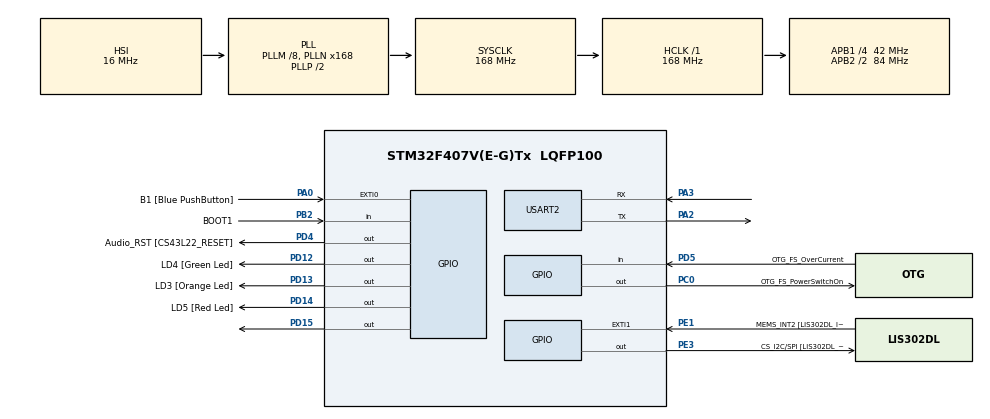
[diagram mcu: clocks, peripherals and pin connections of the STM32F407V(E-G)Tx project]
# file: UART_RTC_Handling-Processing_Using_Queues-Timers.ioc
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Mcu.Family=STM32F4
Mcu.Name=STM32F407V(E-G)Tx
Mcu.Package=LQFP100
NVIC.PriorityGroup=NVIC_PRIORITYGROUP_4
NVIC.TIM6_DAC_IRQn=true\:0\:0\:false\:false\:true\:false\:true\:true
NVIC.TimeBase=TIM6_DAC_IRQn
NVIC.TimeBaseIP=TIM6
NVIC.USART2_IRQn=true\:6\:0\:true\:false\:true\:true\:true\:true
PA0-WKUP.GPIO_Label=B1 [Blue PushButton]
PA0-WKUP.Signal=GPXTI0
PA10.GPIO_Label=OTG_FS_ID
PA10.GPIO_Mode=GPIO_MODE_AF_PP
PA10.GPIO_PuPd=GPIO_NOPULL
PA10.GPIO_Speed=GPIO_SPEED_FREQ_LOW
PA10.Signal=USB_OTG_FS_ID
PA11.GPIO_Label=OTG_FS_DM
PA11.GPIO_Mode=GPIO_MODE_AF_PP
PA11.GPIO_PuPd=GPIO_NOPULL
PA11.GPIO_Speed=GPIO_SPEED_FREQ_LOW
PA11.Signal=USB_OTG_FS_DM
PA12.GPIO_Label=OTG_FS_DP
PA12.GPIO_Mode=GPIO_MODE_AF_PP
PA12.GPIO_PuPd=GPIO_NOPULL
PA12.GPIO_Speed=GPIO_SPEED_FREQ_LOW
PA12.Signal=USB_OTG_FS_DP
PA13.GPIO_Label=SWDIO
PA13.Signal=SYS_JTMS-SWDIO
PA14.GPIO_Label=SWCLK
PA14.Signal=SYS_JTCK-SWCLK
PA2.Mode=Asynchronous
PA2.Signal=USART2_TX
PA3.Mode=Asynchronous
PA3.Signal=USART2_RX
PA4.GPIO_Label=I2S3_WS [CS43L22_LRCK]
PA4.GPIO_Mode=GPIO_MODE_AF_PP
PA4.GPIO_PuPd=GPIO_NOPULL
PA4.GPIO_Speed=GPIO_SPEED_FREQ_LOW
PA4.Signal=I2S3_WS
PA5.GPIO_Label=SPI1_SCK [LIS302DL_SCL/SPC]
PA5.GPIO_Mode=GPIO_MODE_AF_PP
PA5.GPIO_PuPd=GPIO_NOPULL
PA5.GPIO_Speed=GPIO_SPEED_FREQ_LOW
PA5.Signal=SPI1_SCK
PA6.GPIO_Label=SPI1_MISO [LIS302DL_SDO]
PA6.GPIO_Mode=GPIO_MODE_AF_PP
PA6.GPIO_PuPd=GPIO_NOPULL
PA6.GPIO_Speed=GPIO_SPEED_FREQ_LOW
PA6.Signal=SPI1_MISO
PA7.GPIO_Label=SPI1_MOSI [LIS302DL_SDA/SDI/SDO]
PA7.GPIO_Mode=GPIO_MODE_AF_PP
PA7.GPIO_PuPd=GPIO_NOPULL
PA7.GPIO_Speed=GPIO_SPEED_FREQ_LOW
PA7.Signal=SPI1_MOSI
PA9.GPIO_Label=VBUS_FS
PA9.GPIO_Mode=GPIO_MODE_INPUT
PA9.GPIO_PuPd=GPIO_NOPULL
PA9.Signal=USB_OTG_FS_VBUS
PB10.GPIO_Label=CLK_IN [MP45DT02_CLK]
PB10.GPIO_Mode=GPIO_MODE_AF_PP
PB10.GPIO_PuPd=GPIO_NOPULL
PB10.GPIO_Speed=GPIO_SPEED_FREQ_LOW
PB10.Signal=I2S2_CK
PB2.GPIO_Label=BOOT1
PB2.GPIO_Mode=GPIO_MODE_INPUT
PB2.GPIO_PuPd=GPIO_NOPULL
PB2.Signal=GPIO_Input
PB3.GPIO_Label=SWO
PB3.Signal=SYS_JTDO-SWO
PB6.GPIO_Label=Audio_SCL [CS43L22_SCL]
PB6.GPIO_Mode=GPIO_MODE_AF_OD
PB6.GPIO_PuPd=GPIO_NOPULL
PB6.GPIO_Speed=GPIO_SPEED_FREQ_LOW
PB6.Signal=I2C1_SCL
PB9.GPIO_Label=Audio_SDA [CS43L22_SDA]
PB9.GPIO_Mode=GPIO_MODE_AF_OD
PB9.GPIO_PuPd=GPIO_NOPULL
PB9.GPIO_Speed=GPIO_SPEED_FREQ_LOW
PB9.Signal=I2C1_SDA
PC0.GPIO_Label=OTG_FS_PowerSwitchOn
PC0.GPIO_PuPd=GPIO_NOPULL
PC0.GPIO_Speed=GPIO_SPEED_FREQ_LOW
PC0.PinState=GPIO_PIN_SET
PC0.Signal=GPIO_Output
PC10.GPIO_Label=I2S3_SCK [CS43L22_SCLK]
PC10.GPIO_Mode=GPIO_MODE_AF_PP
PC10.GPIO_PuPd=GPIO_NOPULL
PC10.GPIO_Speed=GPIO_SPEED_FREQ_LOW
PC10.Signal=I2S3_CK
PC12.GPIO_Label=I2S3_SD [CS43L22_SDIN]
PC12.GPIO_Mode=GPIO_MODE_AF_PP
PC12.GPIO_PuPd=GPIO_NOPULL
PC12.GPIO_Speed=GPIO_SPEED_FREQ_LOW
PC12.Signal=I2S3_SD
PC14-OSC32_IN.GPIO_Label=PC14-OSC32_IN
PC14-OSC32_IN.Signal=RCC_OSC32_IN
PC15-OSC32_OUT.GPIO_Label=PC15-OSC32_OUT
PC15-OSC32_OUT.Signal=RCC_OSC32_OUT
PC3.GPIO_Label=PDM_OUT [MP45DT02_DOUT]
PC3.GPIO_Mode=GPIO_MODE_AF_PP
PC3.GPIO_PuPd=GPIO_NOPULL
PC3.GPIO_Speed=GPIO_SPEED_FREQ_LOW
PC3.Signal=I2S2_SD
PC7.GPIO_Label=I2S3_MCK [CS43L22_MCLK]
PC7.GPIO_Mode=GPIO_MODE_AF_PP
PC7.GPIO_PuPd=GPIO_NOPULL
PC7.GPIO_Speed=GPIO_SPEED_FREQ_LOW
PC7.Signal=I2S3_MCK
PD12.GPIO_Label=LD4 [Green Led]
PD12.GPIO_PuPd=GPIO_NOPULL
PD12.GPIO_Speed=GPIO_SPEED_FREQ_LOW
PD12.Signal=GPIO_Output
PD13.GPIO_Label=LD3 [Orange Led]
PD13.GPIO_PuPd=GPIO_NOPULL
PD13.GPIO_Speed=GPIO_SPEED_FREQ_LOW
PD13.Signal=GPIO_Output
PD14.GPIO_Label=LD5 [Red Led]
PD14.GPIO_PuPd=GPIO_NOPULL
PD14.GPIO_Speed=GPIO_SPEED_FREQ_LOW
PD14.Signal=GPIO_Output
PD15.Signal=GPIO_Output
PD4.GPIO_Label=Audio_RST [CS43L22_RESET]
PD4.GPIO_PuPd=GPIO_NOPULL
PD4.GPIO_Speed=GPIO_SPEED_FREQ_LOW
PD4.Signal=GPIO_Output
PD5.GPIO_Label=OTG_FS_OverCurrent
PD5.GPIO_Mode=GPIO_MODE_INPUT
PD5.GPIO_PuPd=GPIO_NOPULL
PD5.Signal=GPIO_Input
PE1.GPIO_Label=MEMS_INT2 [LIS302DL_INT2]
PE1.GPIO_ModeDefaultEXTI=GPIO_MODE_EVT_RISING
PE1.GPIO_PuPd=GPIO_NOPULL
PE1.Signal=GPXTI1
PE3.GPIO_Label=CS_I2C/SPI [LIS302DL_CS_I2C/SPI]
PE3.GPIO_PuPd=GPIO_NOPULL
PE3.GPIO_Speed=GPIO_SPEED_FREQ_LOW
PE3.Signal=GPIO_Output
PH0-OSC_IN.GPIO_Label=PH0-OSC_IN
PH0-OSC_IN.Signal=RCC_OSC_IN
PH1-OSC_OUT.GPIO_Label=PH1-OSC_OUT
PH1-OSC_OUT.Signal=RCC_OSC_OUT
ProjectManager.HeapSize=0x200
ProjectManager.StackSize=0x400
ProjectManager.TargetToolchain=STM32CubeIDE
RCC.48MHZClocksFreq_Value=48000000
RCC.AHBFreq_Value=168000000
RCC.APB1CLKDivider=RCC_HCLK_DIV4
RCC.APB1Freq_Value=42000000
RCC.APB1TimFreq_Value=84000000
RCC.APB2CLKDivider=RCC_HCLK_DIV2
RCC.APB2Freq_Value=84000000
RCC.APB2TimFreq_Value=168000000
RCC.CortexFreq_Value=168000000
RCC.HCLKFreq_Value=168000000
RCC.HSE_VALUE=8000000
RCC.HSI_VALUE=16000000
RCC.LSE_VALUE=32768
RCC.PLLM=8
RCC.PLLN=168
RCC.PLLQ=7
RCC.SYSCLKFreq_VALUE=168000000
RCC.SYSCLKSource=RCC_SYSCLKSOURCE_PLLCLK
RCC.VCOOutputFreq_Value=336000000
RTC.HourFormat=RTC_HOURFORMAT_12
USART2.VirtualMode=VM_ASYNC
VP_RTC_VS_RTC_Activate.Mode=RTC_Enabled
VP_SYS_VS_tim6.Mode=TIM6
board=STM32F407G-DISC1

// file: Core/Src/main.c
/* USER CODE BEGIN Header */
/**
 ******************************************************************************
 * @file           : main.c
 * @brief          : FreeRTOS Menu-Driven Application for STM32F4 Discovery
 *
 * @description    : Interactive UART menu system with three features:
 *                   1. LED effects  — four toggle patterns on PD12-PD15
 *                   2. RTC config   — set time, date, enable periodic report
 *                   3. Exit         — placeholder for shutdown logic
 *
 *                   Architecture:
 *                   +-----------+  notify   +------------+  notify   +---------+
 *                   | UART ISR  +---------->+  cmd_task   +---------->+ menu /  |
 *                   | (byte)    |  q_rx     | (parse)     |  (ptr)    | led/rtc |
 *                   +-----------+           +------------+           +---------+
 *                                                                        |
 *                                                                   q_print
 *                                                                        v
 *                                                                  +---------+
 *                                                                  |  print  |
 *                                                                  | (UART)  |
 *                                                                  +---------+
 *
 * @attention
 *
 * Copyright (c) 2026 STMicroelectronics.
 * All rights reserved.
 *
 * This software is licensed under terms that can be found in the LICENSE file
 * in the root directory of this software component.
 * If no LICENSE file comes with this software, it is provided AS-IS.
 *
 ******************************************************************************
 */
/* USER CODE END Header */

#include "main.h"

/* USER CODE BEGIN Includes */
#include <string.h>                /* memset, strcmp, strlen                   */
#include <stdio.h>                 /* printf, sprintf                         */
#include "FreeRTOS.h"              /* Core FreeRTOS definitions               */
#include "task.h"                  /* xTaskCreate, xTaskNotify, etc.          */
#include "queue.h"                 /* xQueueCreate, xQueueSend, etc.         */
#include "timers.h"                /* xTimerCreate, xTimerStart, etc.        */
/* USER CODE END Includes */

/* USER CODE BEGIN PTD */

/**
 * @brief  Command packet received from the UART.
 *         The ISR fills queue_uart_rx one byte at a time; task_cmd_handler
 *         reassembles those bytes into this structure.
 */
typedef struct {
    uint8_t  payload[10];          /* ASCII characters (null-terminated)      */
    uint32_t length;               /* Number of valid chars (excl. '\0')      */
} uart_command_t;

/**
 * @brief  Application state machine states.
 *         Only ONE state is active at any time; it decides which task
 *         receives the next parsed command from task_cmd_handler.
 */
typedef enum {
    STATE_MAIN_MENU = 0,           /* Top-level menu is displayed             */
    STATE_LED_EFFECT,              /* Waiting for LED effect selection        */
    STATE_RTC_MENU,                /* RTC sub-menu is displayed               */
    STATE_RTC_TIME_CONFIG,         /* Collecting hh:mm:ss from user           */
    STATE_RTC_DATE_CONFIG,         /* Collecting dd/mm/dow/yy from user       */
    STATE_RTC_REPORT,              /* Waiting for y/n to toggle reporting     */
} app_state_t;

/* USER CODE END PTD */

/* USER CODE BEGIN PD */

/* ---------- Sub-state indices for multi-step RTC time entry --------------- */
#define RTC_TIME_STEP_HOUR      0  /* First prompt  : enter hours             */
#define RTC_TIME_STEP_MINUTE    1  /* Second prompt : enter minutes            */
#define RTC_TIME_STEP_SECOND    2  /* Third prompt  : enter seconds            */
#define RTC_TIME_STEP_AMPM      3  /* Fourth prompt : enter AM(0) or PM(1)    */

/* ---------- Sub-state indices for multi-step RTC date entry --------------- */
#define RTC_DATE_STEP_DAY       0  /* First prompt  : enter day of month      */
#define RTC_DATE_STEP_MONTH     1  /* Second prompt : enter month              */
#define RTC_DATE_STEP_WEEKDAY   2  /* Third prompt  : enter weekday (1=Sun)    */
#define RTC_DATE_STEP_YEAR      3  /* Fourth prompt : enter year (0-99)        */

/* ---------- Number of LEDs on the Discovery board (PD12-PD15) ------------ */
#define LED_COUNT               4

/* USER CODE END PD */

/* USER CODE BEGIN PM */
/* (none) */
/* USER CODE END PM */

RTC_HandleTypeDef  hrtc;           /* RTC peripheral handle (CubeMX)         */
UART_HandleTypeDef huart2;         /* USART2 peripheral handle (CubeMX)      */

/* USER CODE BEGIN PV */

/* ========================== Task Handles ================================= */
static TaskHandle_t  task_handle_cmd;       /* Command parser task           */
static TaskHandle_t  task_handle_menu;      /* Main menu task                */
static TaskHandle_t  task_handle_print;     /* UART transmit task            */
static TaskHandle_t  task_handle_led;       /* LED effect task               */
static TaskHandle_t  task_handle_rtc;       /* RTC configuration task        */

/* ========================== Queue Handles ================================ */
static QueueHandle_t queue_uart_rx;         /* Raw bytes from UART ISR       */
static QueueHandle_t queue_print;           /* String pointers -> print_task */

/* ========================== Timer Handles ================================ */
static TimerHandle_t timer_led[LED_COUNT];  /* One software timer per effect */
static TimerHandle_t timer_rtc_report;      /* Periodic RTC report timer     */

/* ========================== Shared State ================================= */
static volatile uint8_t     uart_rx_byte;   /* Single-byte ISR receive buf   */
static volatile app_state_t current_state = STATE_MAIN_MENU;  /* FSM state  */
static volatile int         led_toggle_phase = 0; /* Alternates 0/1 each cb */

/* ========================== Constant Strings ============================= */
static const char *MSG_INVALID = "\r\n  [!] Invalid input. Please try again.\r\n";

/* USER CODE END PV */

void SystemClock_Config(void);
static void MX_GPIO_Init(void);
static void MX_RTC_Init(void);
static void MX_USART2_UART_Init(void);

/* USER CODE BEGIN PFP */

/* --- FreeRTOS task entry points --- */
static void task_main_menu(void *param);
static void task_led_effect(void *param);
static void task_rtc_config(void *param);
static void task_print(void *param);
static void task_cmd_handler(void *param);

/* --- RTC helpers --- */
static void     rtc_show_on_uart(void);
static void     rtc_show_on_itm(void);
static void     rtc_apply_time(RTC_TimeTypeDef *time);
static void     rtc_apply_date(RTC_DateTypeDef *date);
static int      rtc_validate(const RTC_TimeTypeDef *time,
                             const RTC_DateTypeDef *date);

/* --- Utility --- */
static uint8_t  ascii_to_number(const uint8_t *buf, int len);

/* --- LED helpers --- */
static void     led_write_pattern(uint8_t pattern);
static void     led_stop_all_timers(void);

/* --- Timer callbacks --- */
static void     callback_led_effect(TimerHandle_t xTimer);
static void     callback_rtc_report(TimerHandle_t xTimer);

/* USER CODE END PFP */

/* USER CODE BEGIN 0 */

/* =========================================================================
 *  FREERTOS HOOK FUNCTIONS
 *  Called automatically by the kernel on error conditions.
 * ========================================================================= */

/**
 * @brief  Called when a task exceeds its allocated stack.
 * @param  xTask      Handle of the offending task.
 * @param  pcTaskName Human-readable name of the offending task.
 * @note   Spins forever so the debugger can catch it.
 */
void vApplicationStackOverflowHook(TaskHandle_t xTask, char *pcTaskName)
{
    (void)xTask;                   /* Suppress unused-variable warning        */
    (void)pcTaskName;              /* Inspect this in the debugger            */
    for (;;);                      /* Halt -- attach debugger to diagnose     */
}

/**
 * @brief  Called when pvPortMalloc() fails (heap exhausted).
 * @note   Increase configTOTAL_HEAP_SIZE in FreeRTOSConfig.h if this fires.
 */
void vApplicationMallocFailedHook(void)
{
    for (;;);                      /* Halt -- heap is full                    */
}

/* =========================================================================
 *  LED GPIO PIN MAP
 *  PD12 = green, PD13 = orange, PD14 = red, PD15 = blue
 * ========================================================================= */
static const uint16_t LED_PINS[LED_COUNT] = {
    GPIO_PIN_12, GPIO_PIN_13, GPIO_PIN_14, GPIO_PIN_15
};

/* =========================================================================
 *  LED HELPER FUNCTIONS
 * ========================================================================= */

/**
 * @brief  Write all four LEDs at once using a 4-bit pattern.
 *         Bit 0 -> PD12, Bit 1 -> PD13, Bit 2 -> PD14, Bit 3 -> PD15.
 *         1 = ON, 0 = OFF.
 * @param  pattern  4-bit value controlling each LED.
 */
static void led_write_pattern(uint8_t pattern)
{
    for (int i = 0; i < LED_COUNT; i++) {
        GPIO_PinState state = (pattern & (1 << i)) ? GPIO_PIN_SET
                                                    : GPIO_PIN_RESET;
        HAL_GPIO_WritePin(GPIOD, LED_PINS[i], state);
    }
}

/**
 * @brief  Stop all four LED effect software timers.
 *         Call this before starting a new effect to ensure only one runs.
 */
static void led_stop_all_timers(void)
{
    for (int i = 0; i < LED_COUNT; i++) {
        xTimerStop(timer_led[i], portMAX_DELAY);
    }
}

/* =========================================================================
 *  TIMER CALLBACKS
 * ========================================================================= */

/**
 * @brief  Software timer callback that drives LED effects.
 *
 *         Each of the four timers carries a unique ID (1-4) set via
 *         pvTimerGetTimerID().  The ID selects the blink pattern.
 *         led_toggle_phase alternates between two complementary patterns
 *         on each tick.
 *
 *         Effect patterns (PD12 PD13 PD14 PD15):
 *           Effect 1: all on  / all off           (simultaneous blink)
 *           Effect 2: 1 0 1 0 / 0 1 0 1           (alternate pairs)
 *           Effect 3: 1 1 0 0 / 0 0 1 1           (top-bottom swap)
 *           Effect 4: 0 1 1 0 / 1 0 0 1           (cross pattern)
 *
 * @param  xTimer  Handle of the timer that expired.
 */
static void callback_led_effect(TimerHandle_t xTimer)
{
    /* Retrieve effect ID (1-4) stored when the timer was created */
    int effect_id = (int)(uint32_t)pvTimerGetTimerID(xTimer);

    /* Two complementary 4-bit patterns per effect: [phase0, phase1] */
    static const uint8_t patterns[4][2] = {
        { 0x0F, 0x00 },           /* Effect 1: all on    <-> all off         */
        { 0x05, 0x0A },           /* Effect 2: 12,14 on  <-> 13,15 on       */
        { 0x03, 0x0C },           /* Effect 3: 12,13 on  <-> 14,15 on       */
        { 0x06, 0x09 },           /* Effect 4: 13,14 on  <-> 12,15 on       */
    };

    /* Bounds-check the effect ID (must be 1-4) */
    if (effect_id < 1 || effect_id > LED_COUNT) return;

    /* Write the current phase pattern, then flip the phase flag */
    led_write_pattern(patterns[effect_id - 1][led_toggle_phase]);
    led_toggle_phase ^= 1;        /* Toggle between 0 and 1                  */
}

/**
 * @brief  Periodic timer callback that prints current RTC time via ITM/SWO.
 * @param  xTimer  (unused) Handle of the expired timer.
 */
static void callback_rtc_report(TimerHandle_t xTimer)
{
    (void)xTimer;
    rtc_show_on_itm();             /* Print time to SWO debug console         */
}

/* =========================================================================
 *  UTILITY FUNCTIONS
 * ========================================================================= */

/**
 * @brief  Convert 1- or 2-digit ASCII string to a binary number.
 * @param  buf  Pointer to ASCII digit(s), e.g. "09" or "5".
 * @param  len  Number of characters (1 or 2).
 * @return Numeric value (0-99).
 */
static uint8_t ascii_to_number(const uint8_t *buf, int len)
{
    if (len > 1) {
        return (uint8_t)(((buf[0] - '0') * 10) + (buf[1] - '0'));
    }
    return (uint8_t)(buf[0] - '0');
}

/* =========================================================================
 *  RTC HELPER FUNCTIONS
 * ========================================================================= */

/**
 * @brief  Print current RTC time and date via ITM/SWO (printf).
 *         Used by the periodic report timer callback.
 */
static void rtc_show_on_itm(void)
{
    RTC_TimeTypeDef rtc_time = {0};
    RTC_DateTypeDef rtc_date = {0};

    /* Must read time BEFORE date -- STM32 RTC latches date on time read */
    HAL_RTC_GetTime(&hrtc, &rtc_time, RTC_FORMAT_BIN);
    HAL_RTC_GetDate(&hrtc, &rtc_date, RTC_FORMAT_BIN);

    /* Determine AM/PM string */
    const char *ampm = (rtc_time.TimeFormat == RTC_HOURFORMAT12_AM)
                       ? "AM" : "PM";

    /* Print formatted time and date to ITM console */
    printf("%02d:%02d:%02d [%s]\t%02d-%02d-%04d\n",
           rtc_time.Hours, rtc_time.Minutes, rtc_time.Seconds, ampm,
           rtc_date.Month, rtc_date.Date, 2000 + rtc_date.Year);
}

/**
 * @brief  Print current RTC time and date over UART via the print queue.
 *         Uses static buffers so the pointer remains valid until consumed.
 */
static void rtc_show_on_uart(void)
{
    /* Static buffers survive after this function returns */
    static char time_buf[40];
    static char date_buf[40];
    static char *time_ptr = time_buf;
    static char *date_ptr = date_buf;

    RTC_TimeTypeDef rtc_time = {0};
    RTC_DateTypeDef rtc_date = {0};

    /* Must read time BEFORE date -- STM32 RTC latches date on time read */
    HAL_RTC_GetTime(&hrtc, &rtc_time, RTC_FORMAT_BIN);
    HAL_RTC_GetDate(&hrtc, &rtc_date, RTC_FORMAT_BIN);

    /* Determine AM/PM string */
    const char *ampm = (rtc_time.TimeFormat == RTC_HOURFORMAT12_AM)
                       ? "AM" : "PM";

    /* Format and enqueue time string */
    sprintf(time_buf, "\r\n  Current Time : %02d:%02d:%02d [%s]",
            rtc_time.Hours, rtc_time.Minutes, rtc_time.Seconds, ampm);
    xQueueSend(queue_print, &time_ptr, portMAX_DELAY);

    /* Format and enqueue date string */
    sprintf(date_buf, "\r\n  Current Date : %02d-%02d-%04d\r\n",
            rtc_date.Month, rtc_date.Date, 2000 + rtc_date.Year);
    xQueueSend(queue_print, &date_ptr, portMAX_DELAY);
}

/**
 * @brief  Apply a new time to the RTC hardware.
 * @param  time  Pointer to time struct with Hours, Minutes, Seconds,
 *               and TimeFormat (AM/PM) already filled by the caller.
 */
static void rtc_apply_time(RTC_TimeTypeDef *time)
{
    /* TimeFormat is set by caller (AM or PM) -- do not override it here */
    time->DayLightSaving = RTC_DAYLIGHTSAVING_NONE;    /* No DST adjustment  */
    time->StoreOperation = RTC_STOREOPERATION_RESET;   /* Reset store flag   */
    HAL_RTC_SetTime(&hrtc, time, RTC_FORMAT_BIN);      /* Write to hardware  */
}

/**
 * @brief  Apply a new date to the RTC hardware.
 * @param  date  Pointer to date struct with Date, Month, WeekDay, Year.
 */
static void rtc_apply_date(RTC_DateTypeDef *date)
{
    HAL_RTC_SetDate(&hrtc, date, RTC_FORMAT_BIN);      /* Write to hardware  */
}

/**
 * @brief  Validate RTC time and/or date fields are within legal range.
 * @param  time  Pointer to time struct (NULL to skip time check).
 * @param  date  Pointer to date struct (NULL to skip date check).
 * @return 0 = valid, 1 = one or more fields out of range.
 */
static int rtc_validate(const RTC_TimeTypeDef *time,
                        const RTC_DateTypeDef *date)
{
    /* Validate time fields if provided */
    if (time != NULL) {
        if (time->Hours > 12 || time->Minutes > 59 || time->Seconds > 59) {
            return 1;              /* Time out of range                       */
        }
    }

    /* Validate date fields if provided */
    if (date != NULL) {
        if (date->Date > 31 || date->Month > 12 ||
            date->WeekDay > 7 || date->Year > 99) {
            return 1;              /* Date out of range                       */
        }
    }

    return 0;                      /* All fields valid                        */
}

/* =========================================================================
 *  FREERTOS TASKS
 * ========================================================================= */

/**
 * @brief  Main menu task.
 *
 *         Displays the top-level menu, waits for a single-digit command,
 *         and delegates to the LED or RTC task via task notifications.
 *         After the sub-task finishes, it notifies this task to re-display
 *         the menu.
 *
 * @param  param  (unused)
 */
static void task_main_menu(void *param)
{
    (void)param;

    uint32_t       notification_value;       /* Holds pointer from notifier  */
    uart_command_t *cmd;                     /* Points into cmd_handler's buf*/

    const char *msg_menu =
        "\r\n"
        "  +------------------------------------+\r\n"
        "  |     STM32F4 Discovery  v1.0        |\r\n"
        "  |          MAIN MENU                 |\r\n"
        "  +------------------------------------+\r\n"
        "  | [0]  LED Control Panel             |\r\n"
        "  | [1]  Clock & Calendar Settings     |\r\n"
        "  | [2]  Exit                          |\r\n"
        "  +------------------------------------+\r\n"
        "  Select option >> ";

    for (;;) {
        /* Display the main menu over UART */
        xQueueSend(queue_print, &msg_menu, portMAX_DELAY);

        /* Block until cmd_handler sends a parsed command via notification */
        xTaskNotifyWait(0, 0, &notification_value, portMAX_DELAY);
        cmd = (uart_command_t *)notification_value;

        if (cmd->length == 1) {
            int option = cmd->payload[0] - '0';  /* Convert ASCII to int    */

            switch (option) {
            case 0:
                /* Hand control to the LED effect task */
                current_state = STATE_LED_EFFECT;
                xTaskNotify(task_handle_led, 0, eNoAction);
                break;

            case 1:
                /* Hand control to the RTC configuration task */
                current_state = STATE_RTC_MENU;
                xTaskNotify(task_handle_rtc, 0, eNoAction);
                break;

            case 2:
                /* Exit -- no shutdown action defined yet */
                break;

            default:
                /* Unrecognised single digit */
                xQueueSend(queue_print, &MSG_INVALID, portMAX_DELAY);
                continue;          /* Re-display menu immediately            */
            }
        } else {
            /* Multi-character input is invalid at the main menu */
            xQueueSend(queue_print, &MSG_INVALID, portMAX_DELAY);
            continue;              /* Re-display menu immediately            */
        }

        /* Block here until the sub-task finishes and notifies us back */
        xTaskNotifyWait(0, 0, NULL, portMAX_DELAY);
    }
}

/**
 * @brief  LED effect selection task.
 *
 *         Waits for a notification from the menu task, shows the LED
 *         sub-menu, reads the user's choice, starts the corresponding
 *         software timer, then returns control to the menu.
 *
 * @param  param  (unused)
 */
static void task_led_effect(void *param)
{
    (void)param;

    uint32_t       notification_value;
    uart_command_t *cmd;

    const char *msg_led =
        "\r\n"
        "  +------------------------------------+\r\n"
        "  |        LED CONTROL PANEL           |\r\n"
        "  +------------------------------------+\r\n"
        "  | [1]    Sync Blink   (all toggle)  |\r\n"
        "  | [2]    Dual Sweep   (alt. pairs)  |\r\n"
        "  | [3]    Wave Split   (top/bottom)  |\r\n"
        "  | [4]    Cross Fade   (diagonal)    |\r\n"
        "  | [none] All LEDs OFF               |\r\n"
        "  +------------------------------------+\r\n"
        "  Select effect >> ";

    for (;;) {
        /* Sleep until the menu task activates us */
        xTaskNotifyWait(0, 0, NULL, portMAX_DELAY);

        /* Display the LED effect sub-menu */
        xQueueSend(queue_print, &msg_led, portMAX_DELAY);

        /* Wait for the user's effect choice */
        xTaskNotifyWait(0, 0, &notification_value, portMAX_DELAY);
        cmd = (uart_command_t *)notification_value;

        if (cmd->length <= 4) {
            if (strcmp((char *)cmd->payload, "none") == 0) {
                /* Turn off all LED effect timers */
                led_stop_all_timers();
                /* Force all four LEDs OFF immediately */
                led_write_pattern(0x00);

            } else if (strcmp((char *)cmd->payload, "1") == 0) {
                /* Start effect 1: simultaneous blink */
                led_stop_all_timers();
                xTimerStart(timer_led[0], portMAX_DELAY);

            } else if (strcmp((char *)cmd->payload, "2") == 0) {
                /* Start effect 2: alternate pairs */
                led_stop_all_timers();
                xTimerStart(timer_led[1], portMAX_DELAY);

            } else if (strcmp((char *)cmd->payload, "3") == 0) {
                /* Start effect 3: top-bottom swap */
                led_stop_all_timers();
                xTimerStart(timer_led[2], portMAX_DELAY);

            } else if (strcmp((char *)cmd->payload, "4") == 0) {
                /* Start effect 4: cross pattern */
                led_stop_all_timers();
                xTimerStart(timer_led[3], portMAX_DELAY);

            } else {
                /* Recognised length but unknown command string */
                xQueueSend(queue_print, &MSG_INVALID, portMAX_DELAY);
            }
        } else {
            /* Input too long for any valid LED command */
            xQueueSend(queue_print, &MSG_INVALID, portMAX_DELAY);
        }

        /* Return to the main menu */
        current_state = STATE_MAIN_MENU;
        xTaskNotify(task_handle_menu, 0, eNoAction);
    }
}

/**
 * @brief  RTC configuration task.
 *
 *         Handles the RTC sub-menu with four options:
 *           0 -- Configure time (hh, mm, ss entered sequentially)
 *           1 -- Configure date (dd, mm, weekday, yy entered sequentially)
 *           2 -- Enable/disable periodic time reporting via ITM
 *           3 -- Exit back to main menu
 *
 * @param  param  (unused)
 */
static void task_rtc_config(void *param)
{
    (void)param;

    /* ---- Constant sub-menu strings ---- */
    const char *msg_header =
        "\r\n"
        "  +------------------------------------+\r\n"
        "  |      CLOCK & CALENDAR SETTINGS     |\r\n"
        "  +------------------------------------+\r\n";

    const char *msg_options =
        "  | [0]  Set Time  (HH:MM:SS AM/PM)   |\r\n"
        "  | [1]  Set Date  (DD/MM/DOW/YY)     |\r\n"
        "  | [2]  Live Report on ITM Console    |\r\n"
        "  | [3]  Back to Main Menu             |\r\n"
        "  +------------------------------------+\r\n"
        "  Select option >> ";

    const char *msg_enter_hour    = "  Hour (1-12)    : ";
    const char *msg_enter_minute  = "  Minutes (0-59) : ";
    const char *msg_enter_second  = "  Seconds (0-59) : ";
    const char *msg_enter_ampm    = "  AM=0 / PM=1    : ";
    const char *msg_enter_day     = "  Day (1-31)     : ";
    const char *msg_enter_month   = "  Month (1-12)   : ";
    const char *msg_enter_weekday = "  Weekday (1-7, Sun=1) : ";
    const char *msg_enter_year    = "  Year (0-99)    : ";
    const char *msg_success       = "\r\n  [OK] Configuration saved successfully.\r\n";
    const char *msg_report_prompt = "  Enable live time report on ITM? (y/n) : ";

    uint32_t       notification_value;       /* Holds pointer from notifier  */
    uart_command_t *cmd;                     /* Parsed command from user     */
    int            rtc_sub_step = 0;         /* Tracks current config field  */

    RTC_TimeTypeDef new_time;                /* Accumulates time fields      */
    RTC_DateTypeDef new_date;                /* Accumulates date fields      */

    for (;;) {
        /* Sleep until the menu task activates us */
        xTaskNotifyWait(0, 0, NULL, portMAX_DELAY);

        /* Show RTC header, current time/date, and sub-menu options */
        xQueueSend(queue_print, &msg_header, portMAX_DELAY);
        rtc_show_on_uart();
        xQueueSend(queue_print, &msg_options, portMAX_DELAY);

        /* Process commands until we return to the main menu */
        while (current_state != STATE_MAIN_MENU) {

            /* Block until cmd_handler sends a command */
            xTaskNotifyWait(0, 0, &notification_value, portMAX_DELAY);
            cmd = (uart_command_t *)notification_value;

            switch (current_state) {

            /* ----------------------------------------------------------
             *  RTC SUB-MENU: Choose time/date config or report toggle
             * ---------------------------------------------------------- */
            case STATE_RTC_MENU:
                if (cmd->length == 1) {
                    int choice = cmd->payload[0] - '0';
                    switch (choice) {
                    case 0:  /* Configure time */
                        current_state = STATE_RTC_TIME_CONFIG;
                        xQueueSend(queue_print, &msg_enter_hour, portMAX_DELAY);
                        break;
                    case 1:  /* Configure date */
                        current_state = STATE_RTC_DATE_CONFIG;
                        xQueueSend(queue_print, &msg_enter_day, portMAX_DELAY);
                        break;
                    case 2:  /* Toggle reporting */
                        current_state = STATE_RTC_REPORT;
                        xQueueSend(queue_print, &msg_report_prompt, portMAX_DELAY);
                        break;
                    case 3:  /* Exit to main menu */
                        current_state = STATE_MAIN_MENU;
                        break;
                    default: /* Unknown option */
                        current_state = STATE_MAIN_MENU;
                        xQueueSend(queue_print, &MSG_INVALID, portMAX_DELAY);
                        break;
                    }
                } else {
                    /* Multi-char input invalid at RTC menu level */
                    current_state = STATE_MAIN_MENU;
                    xQueueSend(queue_print, &MSG_INVALID, portMAX_DELAY);
                }
                break;

            /* ----------------------------------------------------------
             *  TIME CONFIG: Collect hours -> minutes -> seconds -> AM/PM
             * ---------------------------------------------------------- */
            case STATE_RTC_TIME_CONFIG:
                switch (rtc_sub_step) {
                case RTC_TIME_STEP_HOUR:
                    new_time.Hours = ascii_to_number(cmd->payload, cmd->length);
                    rtc_sub_step = RTC_TIME_STEP_MINUTE;
                    xQueueSend(queue_print, &msg_enter_minute, portMAX_DELAY);
                    break;

                case RTC_TIME_STEP_MINUTE:
                    new_time.Minutes = ascii_to_number(cmd->payload, cmd->length);
                    rtc_sub_step = RTC_TIME_STEP_SECOND;
                    xQueueSend(queue_print, &msg_enter_second, portMAX_DELAY);
                    break;

                case RTC_TIME_STEP_SECOND:
                    new_time.Seconds = ascii_to_number(cmd->payload, cmd->length);
                    rtc_sub_step = RTC_TIME_STEP_AMPM;
                    xQueueSend(queue_print, &msg_enter_ampm, portMAX_DELAY);
                    break;

                case RTC_TIME_STEP_AMPM: {
                    /* User enters 0 for AM, 1 for PM */
                    uint8_t ampm_val = ascii_to_number(cmd->payload, cmd->length);

                    if (ampm_val == 0) {
                        new_time.TimeFormat = RTC_HOURFORMAT12_AM;
                    } else if (ampm_val == 1) {
                        new_time.TimeFormat = RTC_HOURFORMAT12_PM;
                    } else {
                        /* Invalid AM/PM value -- reject everything */
                        xQueueSend(queue_print, &MSG_INVALID, portMAX_DELAY);
                        current_state = STATE_MAIN_MENU;
                        rtc_sub_step = 0;
                        break;
                    }

                    /* Validate all time fields, then apply or reject */
                    if (rtc_validate(&new_time, NULL) == 0) {
                        rtc_apply_time(&new_time);
                        xQueueSend(queue_print, &msg_success, portMAX_DELAY);
                        rtc_show_on_uart();
                    } else {
                        xQueueSend(queue_print, &MSG_INVALID, portMAX_DELAY);
                    }

                    /* Reset sub-step and return to main menu */
                    current_state = STATE_MAIN_MENU;
                    rtc_sub_step = 0;
                    break;
                }

                default:
                    break;
                }
                break;

            /* ----------------------------------------------------------
             *  DATE CONFIG: Collect day -> month -> weekday -> year
             * ---------------------------------------------------------- */
            case STATE_RTC_DATE_CONFIG:
                switch (rtc_sub_step) {
                case RTC_DATE_STEP_DAY:
                    new_date.Date = ascii_to_number(cmd->payload, cmd->length);
                    rtc_sub_step = RTC_DATE_STEP_MONTH;
                    xQueueSend(queue_print, &msg_enter_month, portMAX_DELAY);
                    break;

                case RTC_DATE_STEP_MONTH:
                    new_date.Month = ascii_to_number(cmd->payload, cmd->length);
                    rtc_sub_step = RTC_DATE_STEP_WEEKDAY;
                    xQueueSend(queue_print, &msg_enter_weekday, portMAX_DELAY);
                    break;

                case RTC_DATE_STEP_WEEKDAY:
                    new_date.WeekDay = ascii_to_number(cmd->payload, cmd->length);
                    rtc_sub_step = RTC_DATE_STEP_YEAR;
                    xQueueSend(queue_print, &msg_enter_year, portMAX_DELAY);
                    break;

                case RTC_DATE_STEP_YEAR:
                    new_date.Year = ascii_to_number(cmd->payload, cmd->length);

                    /* Validate all four fields, then apply or reject */
                    if (rtc_validate(NULL, &new_date) == 0) {
                        rtc_apply_date(&new_date);
                        xQueueSend(queue_print, &msg_success, portMAX_DELAY);
                        rtc_show_on_uart();
                    } else {
                        xQueueSend(queue_print, &MSG_INVALID, portMAX_DELAY);
                    }

                    /* Reset sub-step and return to main menu */
                    current_state = STATE_MAIN_MENU;
                    rtc_sub_step = 0;
                    break;

                default:
                    break;
                }
                break;

            /* ----------------------------------------------------------
             *  REPORT TOGGLE: 'y' starts periodic ITM output, 'n' stops
             * ---------------------------------------------------------- */
            case STATE_RTC_REPORT:
                if (cmd->length == 1) {
                    if (cmd->payload[0] == 'y') {
                        /* Start the report timer if not already running */
                        if (xTimerIsTimerActive(timer_rtc_report) == pdFALSE) {
                            xTimerStart(timer_rtc_report, portMAX_DELAY);
                        }
                    } else if (cmd->payload[0] == 'n') {
                        /* Stop the report timer */
                        xTimerStop(timer_rtc_report, portMAX_DELAY);
                    } else {
                        xQueueSend(queue_print, &MSG_INVALID, portMAX_DELAY);
                    }
                } else {
                    xQueueSend(queue_print, &MSG_INVALID, portMAX_DELAY);
                }
                current_state = STATE_MAIN_MENU;
                break;

            default:
                /* Unknown state -- break out to avoid infinite loop */
                break;

            } /* end switch(current_state) */

        } /* end while(current_state != STATE_MAIN_MENU) */

        /* Hand control back to the main menu task */
        xTaskNotify(task_handle_menu, 0, eNoAction);
    }
}

/**
 * @brief  UART print task.
 *
 *         Blocks on queue_print waiting for string pointers.  When a pointer
 *         arrives it transmits the entire string over USART2 using blocking
 *         HAL_UART_Transmit.
 *
 * @param  param  (unused)
 */
static void task_print(void *param)
{
    (void)param;
    uint32_t *msg;

    for (;;) {
        /* Wait indefinitely for a string pointer from any task */
        xQueueReceive(queue_print, &msg, portMAX_DELAY);

        /* Transmit the null-terminated string over UART (blocking) */
        HAL_UART_Transmit(&huart2,
                          (uint8_t *)msg,
                          strlen((char *)msg),
                          HAL_MAX_DELAY);
    }
}

/**
 * @brief  Command handler task.
 *
 *         Woken by the UART ISR when '\n' is received.  Drains the raw
 *         byte queue (queue_uart_rx) into a uart_command_t struct, then
 *         routes it to the correct task based on current_state.
 *
 *         The command struct pointer is passed as the notification value
 *         so the receiving task can read the payload directly.
 *
 * @param  param  (unused)
 */
static void task_cmd_handler(void *param)
{
    (void)param;

    BaseType_t     notify_result;
    uart_command_t cmd;                      /* Reused each iteration         */

    for (;;) {
        /* Block until the UART ISR signals that '\n' was received */
        notify_result = xTaskNotifyWait(0, 0, NULL, portMAX_DELAY);

        if (notify_result != pdTRUE) {
            continue;              /* Spurious wake -- go back to sleep       */
        }

        /* Verify that bytes are actually waiting in the queue */
        if (uxQueueMessagesWaiting(queue_uart_rx) == 0) {
            continue;              /* Empty queue -- nothing to parse         */
        }

        /* Drain bytes from the queue until we hit the newline delimiter */
        uint8_t    byte;
        uint8_t    index = 0;
        BaseType_t status;

        do {
            status = xQueueReceive(queue_uart_rx, &byte, 0);
            if (status == pdTRUE) {
                cmd.payload[index++] = byte;
            }
        } while (byte != '\n' && index < sizeof(cmd.payload));

        /* Replace trailing '\n' with null terminator */
        cmd.payload[index - 1] = '\0';
        cmd.length = index - 1;   /* Length excludes the null terminator     */

        /* Route the command to whichever task is currently active */
        switch (current_state) {

        case STATE_MAIN_MENU:
            xTaskNotify(task_handle_menu,
                        (uint32_t)&cmd,
                        eSetValueWithOverwrite);
            break;

        case STATE_LED_EFFECT:
            xTaskNotify(task_handle_led,
                        (uint32_t)&cmd,
                        eSetValueWithOverwrite);
            break;

        case STATE_RTC_MENU:       /* All RTC sub-states route to rtc task   */
        case STATE_RTC_TIME_CONFIG:
        case STATE_RTC_DATE_CONFIG:
        case STATE_RTC_REPORT:
            xTaskNotify(task_handle_rtc,
                        (uint32_t)&cmd,
                        eSetValueWithOverwrite);
            break;
        }
    }
}

/* USER CODE END 0 */

/**
 * @brief  Application entry point.
 *         Initialises hardware, creates all FreeRTOS objects, and starts
 *         the scheduler.  This function never returns.
 * @retval int (never reached)
 */
int main(void)
{

    /* MCU Configuration ------------------------------------------------------ */
    HAL_Init();                    /* Reset peripherals, init Flash & SysTick  */

    SystemClock_Config();          /* Configure system clock to 168 MHz        */

    /* Initialise all configured peripherals */
    MX_GPIO_Init();                /* LEDs on PD12-PD15, user button, etc.    */
    MX_RTC_Init();                 /* Real-time clock in 12-hour mode         */
    MX_USART2_UART_Init();        /* UART2 at 115200 baud, 8N1               */

    /* USER CODE BEGIN 2 */
    BaseType_t status;

    /* ----- Create FreeRTOS tasks ----------------------------------------- */
    /*  xTaskCreate( function,      name,         stack, param, prio, handle )
     *               |              |             |words  |      |     |
     *           entry point    debug label    RAM alloc  arg  level  ID     */

    status = xTaskCreate(task_main_menu,   "menu_task",  250, NULL, 2,
                         &task_handle_menu);
    configASSERT(status == pdPASS);        /* Halt if creation failed         */

    status = xTaskCreate(task_cmd_handler, "cmd_task",   250, NULL, 2,
                         &task_handle_cmd);
    configASSERT(status == pdPASS);

    status = xTaskCreate(task_print,       "print_task", 250, NULL, 2,
                         &task_handle_print);
    configASSERT(status == pdPASS);

    status = xTaskCreate(task_led_effect,  "led_task",   250, NULL, 2,
                         &task_handle_led);
    configASSERT(status == pdPASS);

    status = xTaskCreate(task_rtc_config,  "rtc_task",   250, NULL, 2,
                         &task_handle_rtc);
    configASSERT(status == pdPASS);

    /* ----- Create queues ------------------------------------------------- */

    /* Raw byte queue: UART ISR enqueues one char at a time (max 10 bytes)   */
    queue_uart_rx = xQueueCreate(10, sizeof(char));
    configASSERT(queue_uart_rx != NULL);

    /* Print queue: tasks enqueue pointers to null-terminated strings        */
    queue_print = xQueueCreate(10, sizeof(size_t));
    configASSERT(queue_print != NULL);

    /* ----- Create software timers ---------------------------------------- */

    /* Four LED effect timers -- each fires every 500 ms, auto-reload.
     * Timer ID (1-4) tells the callback which blink pattern to use.         */
    for (int i = 0; i < LED_COUNT; i++) {
        timer_led[i] = xTimerCreate(
            "led_timer",                      /* Debug name                   */
            pdMS_TO_TICKS(500),               /* Period: 500 ms               */
            pdTRUE,                           /* Auto-reload (repeating)      */
            (void *)(i + 1),                  /* Timer ID = effect number 1-4 */
            callback_led_effect);             /* Callback function            */
    }

    /* RTC report timer -- fires every 1000 ms, prints time via ITM.         */
    timer_rtc_report = xTimerCreate(
        "rtc_report",                         /* Debug name                   */
        pdMS_TO_TICKS(1000),                  /* Period: 1 second             */
        pdTRUE,                               /* Auto-reload (repeating)      */
        NULL,                                 /* Timer ID: not needed         */
        callback_rtc_report);                 /* Callback function            */

    /* ----- Start UART receive interrupt ---------------------------------- */
    /* Receive one byte at a time; the ISR callback re-arms itself.          */
    HAL_UART_Receive_IT(&huart2, (uint8_t *)&uart_rx_byte, 1);

    /* ----- Launch the FreeRTOS scheduler --------------------------------- */
    /* This call never returns if everything is configured correctly.         */
    vTaskStartScheduler();

    /* USER CODE END 2 */

    /* Should never reach here -- scheduler has taken over */
    while (1) {
    }
}

/* =========================================================================
 *  SYSTEM CLOCK CONFIGURATION
 *  CubeMX generated -- 168 MHz SYSCLK via PLL from 16 MHz HSI
 * ========================================================================= */
void SystemClock_Config(void)
{
    RCC_OscInitTypeDef RCC_OscInitStruct = {0};
    RCC_ClkInitTypeDef RCC_ClkInitStruct = {0};

    /* Enable the power controller clock and set voltage scaling */
    __HAL_RCC_PWR_CLK_ENABLE();
    __HAL_PWR_VOLTAGESCALING_CONFIG(PWR_REGULATOR_VOLTAGE_SCALE1);

    /* HSI = 16 MHz internal RC, LSI for RTC, PLL output = 168 MHz */
    RCC_OscInitStruct.OscillatorType      = RCC_OSCILLATORTYPE_HSI
                                          | RCC_OSCILLATORTYPE_LSI;
    RCC_OscInitStruct.HSIState            = RCC_HSI_ON;
    RCC_OscInitStruct.HSICalibrationValue = RCC_HSICALIBRATION_DEFAULT;
    RCC_OscInitStruct.LSIState            = RCC_LSI_ON;
    RCC_OscInitStruct.PLL.PLLState        = RCC_PLL_ON;
    RCC_OscInitStruct.PLL.PLLSource       = RCC_PLLSOURCE_HSI;
    RCC_OscInitStruct.PLL.PLLM            = 8;   /* VCO in  = 16/8  = 2 MHz */
    RCC_OscInitStruct.PLL.PLLN            = 168;  /* VCO out = 2*168 = 336   */
    RCC_OscInitStruct.PLL.PLLP            = RCC_PLLP_DIV2; /* SYSCLK = 168  */
    RCC_OscInitStruct.PLL.PLLQ            = 7;   /* USB clk = 336/7 = 48    */

    if (HAL_RCC_OscConfig(&RCC_OscInitStruct) != HAL_OK) {
        Error_Handler();
    }

    /* Bus clocks: AHB = 168 MHz, APB1 = 42 MHz, APB2 = 84 MHz */
    RCC_ClkInitStruct.ClockType      = RCC_CLOCKTYPE_HCLK
                                     | RCC_CLOCKTYPE_SYSCLK
                                     | RCC_CLOCKTYPE_PCLK1
                                     | RCC_CLOCKTYPE_PCLK2;
    RCC_ClkInitStruct.SYSCLKSource   = RCC_SYSCLKSOURCE_PLLCLK;
    RCC_ClkInitStruct.AHBCLKDivider  = RCC_SYSCLK_DIV1;
    RCC_ClkInitStruct.APB1CLKDivider = RCC_HCLK_DIV4;
    RCC_ClkInitStruct.APB2CLKDivider = RCC_HCLK_DIV2;

    if (HAL_RCC_ClockConfig(&RCC_ClkInitStruct, FLASH_LATENCY_5) != HAL_OK) {
        Error_Handler();
    }
}

/* =========================================================================
 *  RTC INITIALISATION
 *  CubeMX generated -- 12-hour format, LSI clock source
 * ========================================================================= */
static void MX_RTC_Init(void)
{
    hrtc.Instance            = RTC;
    hrtc.Init.HourFormat     = RTC_HOURFORMAT_12;
    hrtc.Init.AsynchPrediv   = 127;       /* Async prescaler                 */
    hrtc.Init.SynchPrediv    = 255;       /* Sync prescaler                  */
    hrtc.Init.OutPut         = RTC_OUTPUT_DISABLE;
    hrtc.Init.OutPutPolarity = RTC_OUTPUT_POLARITY_HIGH;
    hrtc.Init.OutPutType     = RTC_OUTPUT_TYPE_OPENDRAIN;

    if (HAL_RTC_Init(&hrtc) != HAL_OK) {
        Error_Handler();
    }
}

/* =========================================================================
 *  USART2 INITIALISATION
 *  CubeMX generated -- 115200 baud, 8 data bits, no parity, 1 stop bit
 * ========================================================================= */
static void MX_USART2_UART_Init(void)
{
    huart2.Instance          = USART2;
    huart2.Init.BaudRate     = 115200;
    huart2.Init.WordLength   = UART_WORDLENGTH_8B;
    huart2.Init.StopBits     = UART_STOPBITS_1;
    huart2.Init.Parity       = UART_PARITY_NONE;
    huart2.Init.Mode         = UART_MODE_TX_RX;
    huart2.Init.HwFlowCtl    = UART_HWCONTROL_NONE;
    huart2.Init.OverSampling = UART_OVERSAMPLING_16;

    if (HAL_UART_Init(&huart2) != HAL_OK) {
        Error_Handler();
    }
}

/* =========================================================================
 *  GPIO INITIALISATION
 *  CubeMX generated
 *  Key pins:
 *    PD12 = LD4 (green)   PD13 = LD3 (orange)
 *    PD14 = LD5 (red)     PD15 = LD6 (blue)
 *    PA0  = B1  (user button, rising edge interrupt)
 * ========================================================================= */
static void MX_GPIO_Init(void)
{
    GPIO_InitTypeDef GPIO_InitStruct = {0};

    /* Enable GPIO port clocks */
    __HAL_RCC_GPIOE_CLK_ENABLE();
    __HAL_RCC_GPIOC_CLK_ENABLE();
    __HAL_RCC_GPIOH_CLK_ENABLE();
    __HAL_RCC_GPIOA_CLK_ENABLE();
    __HAL_RCC_GPIOB_CLK_ENABLE();
    __HAL_RCC_GPIOD_CLK_ENABLE();

    /* Set initial output levels before configuring pins */
    HAL_GPIO_WritePin(CS_I2C_SPI_GPIO_Port, CS_I2C_SPI_Pin, GPIO_PIN_RESET);
    HAL_GPIO_WritePin(OTG_FS_PowerSwitchOn_GPIO_Port,
                      OTG_FS_PowerSwitchOn_Pin, GPIO_PIN_SET);
    HAL_GPIO_WritePin(GPIOD,
                      LD4_Pin | LD3_Pin | LD5_Pin | GPIO_PIN_15 | Audio_RST_Pin,
                      GPIO_PIN_RESET);

    /* CS_I2C_SPI -- push-pull output */
    GPIO_InitStruct.Pin   = CS_I2C_SPI_Pin;
    GPIO_InitStruct.Mode  = GPIO_MODE_OUTPUT_PP;
    GPIO_InitStruct.Pull  = GPIO_NOPULL;
    GPIO_InitStruct.Speed = GPIO_SPEED_FREQ_LOW;
    HAL_GPIO_Init(CS_I2C_SPI_GPIO_Port, &GPIO_InitStruct);

    /* OTG_FS power switch -- push-pull output */
    GPIO_InitStruct.Pin   = OTG_FS_PowerSwitchOn_Pin;
    GPIO_InitStruct.Mode  = GPIO_MODE_OUTPUT_PP;
    GPIO_InitStruct.Pull  = GPIO_NOPULL;
    GPIO_InitStruct.Speed = GPIO_SPEED_FREQ_LOW;
    HAL_GPIO_Init(OTG_FS_PowerSwitchOn_GPIO_Port, &GPIO_InitStruct);

    /* PDM_OUT -- alternate function (SPI2) */
    GPIO_InitStruct.Pin       = PDM_OUT_Pin;
    GPIO_InitStruct.Mode      = GPIO_MODE_AF_PP;
    GPIO_InitStruct.Pull      = GPIO_NOPULL;
    GPIO_InitStruct.Speed     = GPIO_SPEED_FREQ_LOW;
    GPIO_InitStruct.Alternate = GPIO_AF5_SPI2;
    HAL_GPIO_Init(PDM_OUT_GPIO_Port, &GPIO_InitStruct);

    /* User button B1 -- external interrupt on rising edge */
    GPIO_InitStruct.Pin  = B1_Pin;
    GPIO_InitStruct.Mode = GPIO_MODE_IT_RISING;
    GPIO_InitStruct.Pull = GPIO_NOPULL;
    HAL_GPIO_Init(B1_GPIO_Port, &GPIO_InitStruct);

    /* I2S3_WS -- alternate function (SPI3) */
    GPIO_InitStruct.Pin       = I2S3_WS_Pin;
    GPIO_InitStruct.Mode      = GPIO_MODE_AF_PP;
    GPIO_InitStruct.Pull      = GPIO_NOPULL;
    GPIO_InitStruct.Speed     = GPIO_SPEED_FREQ_LOW;
    GPIO_InitStruct.Alternate = GPIO_AF6_SPI3;
    HAL_GPIO_Init(I2S3_WS_GPIO_Port, &GPIO_InitStruct);

    /* SPI1 pins -- SCK, MISO, MOSI */
    GPIO_InitStruct.Pin       = SPI1_SCK_Pin | SPI1_MISO_Pin | SPI1_MOSI_Pin;
    GPIO_InitStruct.Mode      = GPIO_MODE_AF_PP;
    GPIO_InitStruct.Pull      = GPIO_NOPULL;
    GPIO_InitStruct.Speed     = GPIO_SPEED_FREQ_LOW;
    GPIO_InitStruct.Alternate = GPIO_AF5_SPI1;
    HAL_GPIO_Init(GPIOA, &GPIO_InitStruct);

    /* BOOT1 -- input */
    GPIO_InitStruct.Pin  = BOOT1_Pin;
    GPIO_InitStruct.Mode = GPIO_MODE_INPUT;
    GPIO_InitStruct.Pull = GPIO_NOPULL;
    HAL_GPIO_Init(BOOT1_GPIO_Port, &GPIO_InitStruct);

    /* CLK_IN -- alternate function (SPI2) */
    GPIO_InitStruct.Pin       = CLK_IN_Pin;
    GPIO_InitStruct.Mode      = GPIO_MODE_AF_PP;
    GPIO_InitStruct.Pull      = GPIO_NOPULL;
    GPIO_InitStruct.Speed     = GPIO_SPEED_FREQ_LOW;
    GPIO_InitStruct.Alternate = GPIO_AF5_SPI2;
    HAL_GPIO_Init(CLK_IN_GPIO_Port, &GPIO_InitStruct);

    /* LEDs (PD12-PD15) and Audio_RST -- push-pull outputs */
    GPIO_InitStruct.Pin   = LD4_Pin | LD3_Pin | LD5_Pin
                          | GPIO_PIN_15 | Audio_RST_Pin;
    GPIO_InitStruct.Mode  = GPIO_MODE_OUTPUT_PP;
    GPIO_InitStruct.Pull  = GPIO_NOPULL;
    GPIO_InitStruct.Speed = GPIO_SPEED_FREQ_LOW;
    HAL_GPIO_Init(GPIOD, &GPIO_InitStruct);

    /* I2S3 pins -- MCK, SCK, SD */
    GPIO_InitStruct.Pin       = I2S3_MCK_Pin | I2S3_SCK_Pin | I2S3_SD_Pin;
    GPIO_InitStruct.Mode      = GPIO_MODE_AF_PP;
    GPIO_InitStruct.Pull      = GPIO_NOPULL;
    GPIO_InitStruct.Speed     = GPIO_SPEED_FREQ_LOW;
    GPIO_InitStruct.Alternate = GPIO_AF6_SPI3;
    HAL_GPIO_Init(GPIOC, &GPIO_InitStruct);

    /* VBUS_FS -- input */
    GPIO_InitStruct.Pin  = VBUS_FS_Pin;
    GPIO_InitStruct.Mode = GPIO_MODE_INPUT;
    GPIO_InitStruct.Pull = GPIO_NOPULL;
    HAL_GPIO_Init(VBUS_FS_GPIO_Port, &GPIO_InitStruct);

    /* OTG_FS pins -- ID, DM, DP */
    GPIO_InitStruct.Pin       = OTG_FS_ID_Pin | OTG_FS_DM_Pin | OTG_FS_DP_Pin;
    GPIO_InitStruct.Mode      = GPIO_MODE_AF_PP;
    GPIO_InitStruct.Pull      = GPIO_NOPULL;
    GPIO_InitStruct.Speed     = GPIO_SPEED_FREQ_LOW;
    GPIO_InitStruct.Alternate = GPIO_AF10_OTG_FS;
    HAL_GPIO_Init(GPIOA, &GPIO_InitStruct);

    /* OTG_FS over-current detection -- input */
    GPIO_InitStruct.Pin  = OTG_FS_OverCurrent_Pin;
    GPIO_InitStruct.Mode = GPIO_MODE_INPUT;
    GPIO_InitStruct.Pull = GPIO_NOPULL;
    HAL_GPIO_Init(OTG_FS_OverCurrent_GPIO_Port, &GPIO_InitStruct);

    /* Audio I2C -- open-drain alternate function (I2C1) */
    GPIO_InitStruct.Pin       = Audio_SCL_Pin | Audio_SDA_Pin;
    GPIO_InitStruct.Mode      = GPIO_MODE_AF_OD;
    GPIO_InitStruct.Pull      = GPIO_NOPULL;
    GPIO_InitStruct.Speed     = GPIO_SPEED_FREQ_LOW;
    GPIO_InitStruct.Alternate = GPIO_AF4_I2C1;
    HAL_GPIO_Init(GPIOB, &GPIO_InitStruct);

    /* MEMS_INT2 -- event on rising edge */
    GPIO_InitStruct.Pin  = MEMS_INT2_Pin;
    GPIO_InitStruct.Mode = GPIO_MODE_EVT_RISING;
    GPIO_InitStruct.Pull = GPIO_NOPULL;
    HAL_GPIO_Init(MEMS_INT2_GPIO_Port, &GPIO_InitStruct);
}

/* USER CODE BEGIN 4 */

/* =========================================================================
 *  UART RECEIVE COMPLETE CALLBACK (runs in ISR context)
 *
 *  Called by the HAL each time one byte arrives on USART2.
 *  The byte is pushed into queue_uart_rx.  When '\n' is received,
 *  task_cmd_handler is notified to parse the complete line.
 *
 *  A short software delay provides basic debounce for noisy connections.
 * ========================================================================= */
void HAL_UART_RxCpltCallback(UART_HandleTypeDef *huart)
{
    (void)huart;
    uint8_t discard;

    /* Brief software delay for debounce (~24 us at 168 MHz) */
    for (volatile uint32_t i = 0; i < 4000; i++);

    if (!xQueueIsQueueFullFromISR(queue_uart_rx)) {
        /* Normal case: enqueue the received byte */
        xQueueSendFromISR(queue_uart_rx, (void *)&uart_rx_byte, NULL);
    } else {
        /* Queue full: drop the oldest byte to make room, ensuring the
         * final '\n' delimiter is never lost */
        xQueueReceiveFromISR(queue_uart_rx, (void *)&discard, NULL);
        xQueueSendFromISR(queue_uart_rx, (void *)&uart_rx_byte, NULL);
    }

    /* If this byte is the newline delimiter, wake cmd_handler_task */
    if (uart_rx_byte == '\n') {
        xTaskNotifyFromISR(task_handle_cmd, 0, eNoAction, NULL);
    }

    /* Re-arm the UART to receive the next single byte via interrupt */
    HAL_UART_Receive_IT(&huart2, (uint8_t *)&uart_rx_byte, 1);
}

/* USER CODE END 4 */

/**
 * @brief  TIM6 period elapsed callback -- drives HAL_IncTick().
 *         FreeRTOS owns SysTick, so HAL timebase uses TIM6 instead.
 * @param  htim  TIM handle.
 */
void HAL_TIM_PeriodElapsedCallback(TIM_HandleTypeDef *htim)
{
    if (htim->Instance == TIM6) {
        HAL_IncTick();             /* Increment HAL millisecond counter       */
    }
}

/**
 * @brief  Global error handler -- disables interrupts and halts.
 *         Attach a debugger to diagnose the fault.
 */
void Error_Handler(void)
{
    __disable_irq();               /* Prevent further interrupts              */
    while (1);                     /* Halt forever                            */
}
